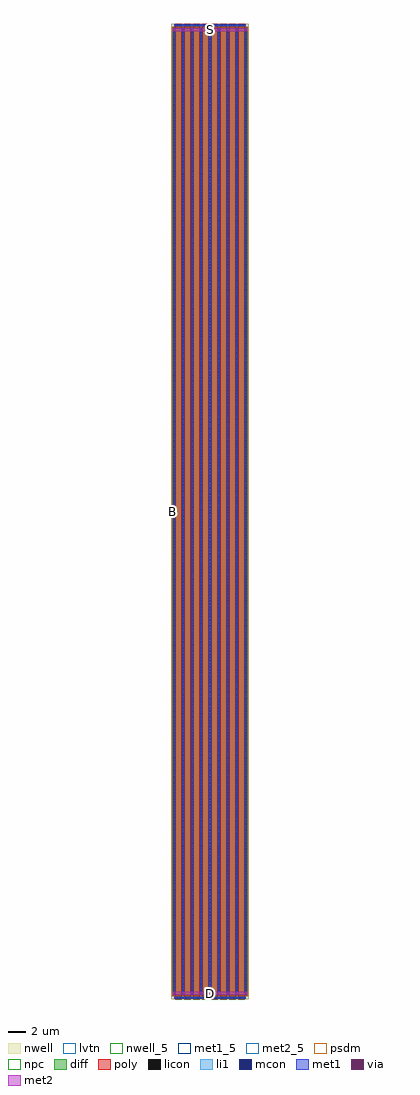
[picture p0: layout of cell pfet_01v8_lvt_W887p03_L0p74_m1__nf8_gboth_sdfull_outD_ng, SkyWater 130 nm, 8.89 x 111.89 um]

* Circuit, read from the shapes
.subckt pfet_01v8_lvt_W887p03_L0p74_m1__nf8_gboth_sdfull_outD_ng B D G S
XM1 S G D B sky130_fd_pr__pfet_01v8_lvt w=110.88 l=0.74 m=8
.ends

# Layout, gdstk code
import gdstk
lib = gdstk.Library(unit=1e-6, precision=1e-09)
def R(c, l, rs):  # rectangles x0, y0, x1, y1
    for r in rs: c.add(gdstk.rectangle(r[:2], r[2:], *l))
def A(c, l, x, y, w, h, nx, ny, dx, dy):  # array of equal rectangles
    R(c, l, [(x+i*dx, y+j*dy, x+i*dx+w, y+j*dy+h) for i in range(nx) for j in range(ny)])
nwell_5 = (64, 5)
nwell = (64, 20)
diff = (65, 20)
poly = (66, 20)
licon = (66, 44)
li1 = (67, 20)
mcon = (67, 44)
met1_5 = (68, 5)
met1 = (68, 20)
via = (68, 44)
met2_5 = (69, 5)
met2 = (69, 20)
psdm = (94, 20)
npc = (95, 20)
lvtn = (125, 44)

sky130_fd_pr__pfet_01v8_ = lib.new_cell('sky130_fd_pr__pfet_01v8_lvt_MJS98J')
R(sky130_fd_pr__pfet_01v8_, nwell, [(-4.445,-55.94,4.445,55.94)])
R(sky130_fd_pr__pfet_01v8_, diff, [(-4.265,-55.44,4.265,55.44)])
A(sky130_fd_pr__pfet_01v8_, poly, -3.975, -55.925, 0.74, 111.85, 8, 1, 1.03, 0)
A(sky130_fd_pr__pfet_01v8_, licon, -4.205, -55.335, 0.17, 0.17, 9, 326, 1.03, 0.34)
R(sky130_fd_pr__pfet_01v8_, licon, [(-3.86,-55.845,-3.69,-55.675), (-3.52,-55.845,-3.35,-55.675), (-2.83,-55.845,-2.66,-55.675), (-2.49,-55.845,-2.32,-55.675), (-1.8,-55.845,-1.63,-55.675), (-1.46,-55.845,-1.29,-55.675), (-0.77,-55.845,-0.6,-55.675), (-0.43,-55.845,-0.26,-55.675), (0.26,-55.845,0.43,-55.675), (0.6,-55.845,0.77,-55.675), (1.29,-55.845,1.46,-55.675), (1.63,-55.845,1.8,-55.675), (2.32,-55.845,2.49,-55.675), (2.66,-55.845,2.83,-55.675), (3.35,-55.845,3.52,-55.675), (3.69,-55.845,3.86,-55.675), (-3.86,55.675,-3.69,55.845), (-3.52,55.675,-3.35,55.845), (-2.83,55.675,-2.66,55.845), (-2.49,55.675,-2.32,55.845), (-1.8,55.675,-1.63,55.845), (-1.46,55.675,-1.29,55.845), (-0.77,55.675,-0.6,55.845), (-0.43,55.675,-0.26,55.845), (0.26,55.675,0.43,55.845), (0.6,55.675,0.77,55.845), (1.29,55.675,1.46,55.845), (1.63,55.675,1.8,55.845), (2.32,55.675,2.49,55.845), (2.66,55.675,2.83,55.845), (3.35,55.675,3.52,55.845), (3.69,55.675,3.86,55.845)])
A(sky130_fd_pr__pfet_01v8_, li1, -4.205, -55.46, 0.17, 110.92, 9, 1, 1.03, 0)
R(sky130_fd_pr__pfet_01v8_, li1, [(-4.12,-55.845,4.12,-55.675), (-4.12,55.675,4.12,55.845)])
A(sky130_fd_pr__pfet_01v8_, mcon, -4.205, -55.345, 0.17, 0.17, 9, 308, 1.03, 0.36)
R(sky130_fd_pr__pfet_01v8_, mcon, [(-3.87,-55.845,-3.7,-55.675), (-3.51,-55.845,-3.34,-55.675), (-2.84,-55.845,-2.67,-55.675), (-2.48,-55.845,-2.31,-55.675), (-1.81,-55.845,-1.64,-55.675), (-1.45,-55.845,-1.28,-55.675), (-0.78,-55.845,-0.61,-55.675), (-0.42,-55.845,-0.25,-55.675), (0.25,-55.845,0.42,-55.675), (0.61,-55.845,0.78,-55.675), (1.28,-55.845,1.45,-55.675), (1.64,-55.845,1.81,-55.675), (2.31,-55.845,2.48,-55.675), (2.67,-55.845,2.84,-55.675), (3.34,-55.845,3.51,-55.675), (3.7,-55.845,3.87,-55.675), (-3.87,55.675,-3.7,55.845), (-3.51,55.675,-3.34,55.845), (-2.84,55.675,-2.67,55.845), (-2.48,55.675,-2.31,55.845), (-1.81,55.675,-1.64,55.845), (-1.45,55.675,-1.28,55.845), (-0.78,55.675,-0.61,55.845), (-0.42,55.675,-0.25,55.845), (0.25,55.675,0.42,55.845), (0.61,55.675,0.78,55.845), (1.28,55.675,1.45,55.845), (1.64,55.675,1.81,55.845), (2.31,55.675,2.48,55.845), (2.67,55.675,2.84,55.845), (3.34,55.675,3.51,55.845), (3.7,55.675,3.87,55.845)])
A(sky130_fd_pr__pfet_01v8_, met1, -3.955, -55.875, 0.7, 0.03, 8, 2, 1.03, 0.2)
A(sky130_fd_pr__pfet_01v8_, met1, -4.235, -55.44, 0.23, 110.88, 9, 1, 1.03, 0)
A(sky130_fd_pr__pfet_01v8_, met1, -3.955, 55.645, 0.7, 0.03, 8, 2, 1.03, 0.2)
R(sky130_fd_pr__pfet_01v8_, met1, [(-4.12,-55.845,4.12,-55.675), (-4.12,55.675,4.12,55.845)])
R(sky130_fd_pr__pfet_01v8_, psdm, [(-4.39,-55.565,4.39,55.565)])
A(sky130_fd_pr__pfet_01v8_, npc, -3.96, -55.945, 0.71, 0.37, 8, 2, 1.03, 111.52)
R(sky130_fd_pr__pfet_01v8_, lvtn, [(-4.155,-55.62,4.155,55.62)])
sky130_fd_pr__pfet_01v8_.add(gdstk.Label('D0', (-4.12,0), layer=67, texttype=5))
sky130_fd_pr__pfet_01v8_.add(gdstk.Label('G', (3.605,55.76), layer=67, texttype=5))
sky130_fd_pr__pfet_01v8_.add(gdstk.Label('G', (2.575,55.76), layer=67, texttype=5))
sky130_fd_pr__pfet_01v8_.add(gdstk.Label('G', (1.545,55.76), layer=67, texttype=5))
sky130_fd_pr__pfet_01v8_.add(gdstk.Label('G', (0.515,55.76), layer=67, texttype=5))
sky130_fd_pr__pfet_01v8_.add(gdstk.Label('G', (-0.515,55.76), layer=67, texttype=5))
sky130_fd_pr__pfet_01v8_.add(gdstk.Label('G', (-1.545,55.76), layer=67, texttype=5))
sky130_fd_pr__pfet_01v8_.add(gdstk.Label('G', (-2.575,55.76), layer=67, texttype=5))
sky130_fd_pr__pfet_01v8_.add(gdstk.Label('G', (-3.605,55.76), layer=67, texttype=5))
sky130_fd_pr__pfet_01v8_.add(gdstk.Label('S1', (-3.09,0), layer=67, texttype=5))
sky130_fd_pr__pfet_01v8_.add(gdstk.Label('D2', (-2.06,0), layer=67, texttype=5))
sky130_fd_pr__pfet_01v8_.add(gdstk.Label('S3', (-1.03,0), layer=67, texttype=5))
sky130_fd_pr__pfet_01v8_.add(gdstk.Label('D4', (0,0), layer=67, texttype=5))
sky130_fd_pr__pfet_01v8_.add(gdstk.Label('S5', (1.03,0), layer=67, texttype=5))
sky130_fd_pr__pfet_01v8_.add(gdstk.Label('D6', (2.06,0), layer=67, texttype=5))
sky130_fd_pr__pfet_01v8_.add(gdstk.Label('S7', (3.09,0), layer=67, texttype=5))

pfet_01v8_lvt_w887p03_l0 = lib.new_cell('pfet_01v8_lvt_W887p03_L0p74_m1__nf8_gboth_sdfull_outD_ng')
R(pfet_01v8_lvt_w887p03_l0, nwell_5, [(0.05,55.89,0.15,55.99)])
R(pfet_01v8_lvt_w887p03_l0, nwell, [(0.05,55.89,0.15,55.99)])
R(pfet_01v8_lvt_w887p03_l0, met1_5, [(0.325,111.585,8.565,111.815)])
A(pfet_01v8_lvt_w887p03_l0, met1, 0.195, 0.55, 0.26, 0.32, 5, 1, 2.06, 0)
A(pfet_01v8_lvt_w887p03_l0, met1, 1.225, 111.01, 0.26, 0.32, 4, 1, 2.06, 0)
R(pfet_01v8_lvt_w887p03_l0, met1, [(0.325,111.585,8.565,111.815)])
A(pfet_01v8_lvt_w887p03_l0, via, 0.25, 0.635, 0.15, 0.15, 5, 1, 2.06, 0)
A(pfet_01v8_lvt_w887p03_l0, via, 1.28, 111.095, 0.15, 0.15, 4, 1, 2.06, 0)
R(pfet_01v8_lvt_w887p03_l0, met2_5, [(0.19,0.55,8.7,0.87), (0.19,111.01,8.7,111.33)])
R(pfet_01v8_lvt_w887p03_l0, met2, [(0.19,0.55,8.7,0.87), (0.19,111.01,8.7,111.33)])
pfet_01v8_lvt_w887p03_l0.add(gdstk.Reference(sky130_fd_pr__pfet_01v8_, (4.445,55.94)))
pfet_01v8_lvt_w887p03_l0.add(gdstk.Label('S', (4.445,111.17), layer=69, texttype=5))
pfet_01v8_lvt_w887p03_l0.add(gdstk.Label('D', (4.445,0.71), layer=69, texttype=5))
pfet_01v8_lvt_w887p03_l0.add(gdstk.Label('G', (4.445,111.7), layer=68, texttype=5))
pfet_01v8_lvt_w887p03_l0.add(gdstk.Label('B', (0.1,55.94), layer=64, texttype=5))

lib.write_gds('pfet_01v8_lvt_W887p03_L0p74_m1__nf8_gboth_sdfull_outD_ng.gds')
